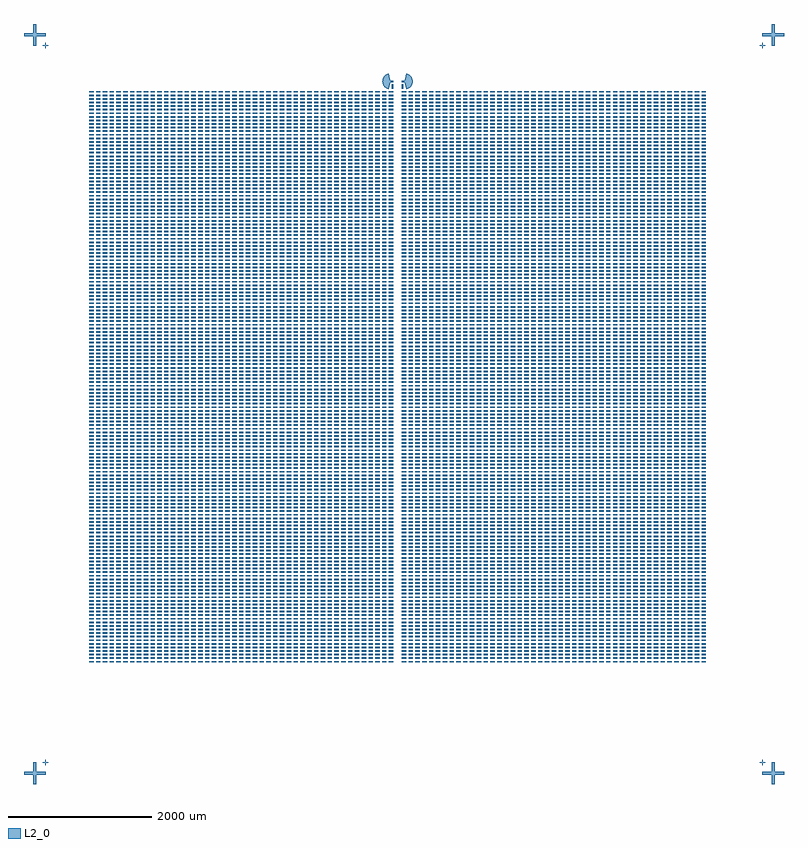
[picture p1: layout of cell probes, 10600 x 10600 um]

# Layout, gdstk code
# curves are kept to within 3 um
import gdstk
lib = gdstk.Library(unit=1e-6, precision=1e-09)
def R(c, l, rs):  # rectangles x0, y0, x1, y1
    for r in rs: c.add(gdstk.rectangle(r[:2], r[2:], *l))
def A(c, l, x, y, w, h, nx, ny, dx, dy):  # array of equal rectangles
    R(c, l, [(x+i*dx, y+j*dy, x+i*dx+w, y+j*dy+h) for i in range(nx) for j in range(ny)])
def P(c, l, *ps):  # polygons
    for p in ps: c.add(gdstk.Polygon(p, *l))
L2_0 = (2, 0)

probes = lib.new_cell('probes')
A(probes, L2_0, 610, 1395, 60, 20, 45, 160, 95, 50)
A(probes, L2_0, 4970, 1395, 60, 20, 45, 160, 95, 50)
R(probes, L2_0, [(4832.5,9397.5,4852.5,9457.5), (4967.5,9397.5,4987.5,9457.5)])
P(probes, L2_0, [(10170,10130),(10300,10130),(10300,10170),(10170,10170),(10170,10300),(10130,10300),(10130,10170),(10000,10170),(10000,10130),(10130,10130),(10130,10000),(10170,10000)],
  [(-130,10130),(0,10130),(0,10170),(-130,10170),(-130,10300),(-170,10300),(-170,10170),(-300,10170),(-300,10130),(-170,10130),(-170,10000),(-130,10000)],
  [(10170,-170),(10300,-170),(10300,-130),(10170,-130),(10170,0),(10130,0),(10130,-130),(10000,-130),(10000,-170),(10130,-170),(10130,-300),(10170,-300)],
  [(-130,-170),(0,-170),(0,-130),(-130,-130),(-130,0),(-170,0),(-170,-130),(-300,-130),(-300,-170),(-170,-170),(-170,-300),(-130,-300)],
  [(10005,9995),(10040,9995),(10040,10005),(10005,10005),(10005,10040),(9995,10040),(9995,10005),(9960,10005),(9960,9995),(9995,9995),(9995,9960),(10005,9960)],
  [(5,9995),(40,9995),(40,10005),(5,10005),(5,10040),(-5,10040),(-5,10005),(-40,10005),(-40,9995),(-5,9995),(-5,9960),(5,9960)],
  [(10005,-5),(10040,-5),(10040,5),(10005,5),(10005,40),(9995,40),(9995,5),(9960,5),(9960,-5),(9995,-5),(9995,-40),(10005,-40)],
  [(5,-5),(40,-5),(40,5),(5,5),(5,40),(-5,40),(-5,5),(-40,5),(-40,-5),(-5,-5),(-5,-40),(5,-40)],
  [(5032.682,9392.39),(5067.534,9406.246),(5096.421,9431.946),(5113.704,9463.32),(5119.99,9501.47),(4970,9501.47),(4970,9490),(5011.99,9490)],
  [(5119.989,9501.524),(5112.667,9539.488),(5094.537,9570.381),(5067.488,9593.782),(5032.682,9607.61),(5011.99,9510),(4970,9510),(4970,9501.47)],
  [(4787.461,9392.389),(4808.01,9490),(4850,9490),(4850,9501.47),(4700.01,9501.47),(4706.296,9463.32),(4723.579,9431.946),(4752.466,9406.246)],
  [(4850,9510),(4808.01,9510),(4787.318,9607.61),(4752.512,9593.782),(4725.463,9570.381),(4706.314,9536.731),(4700.01,9501.47),(4850,9501.47)])

lib.write_gds('probes.gds')
